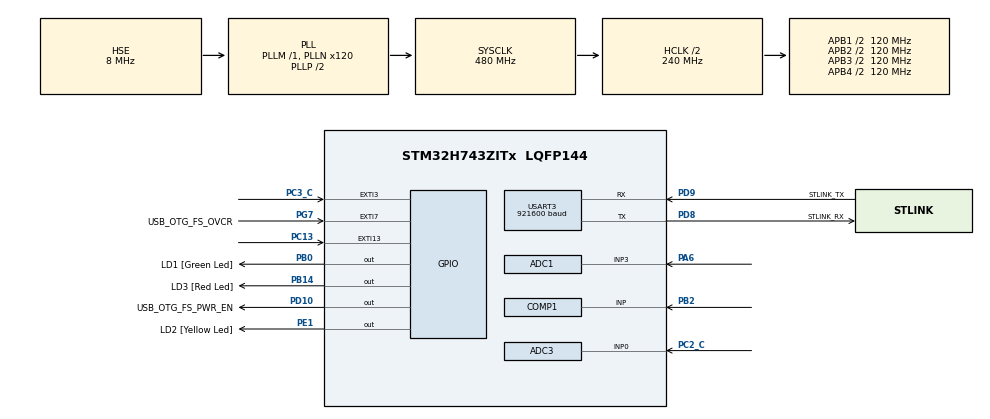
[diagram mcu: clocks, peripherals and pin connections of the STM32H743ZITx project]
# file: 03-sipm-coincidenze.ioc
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ADC1.Channel-1\#ChannelRegularConversion=ADC_CHANNEL_3
ADC1.ExternalTrigConv=ADC_EXTERNALTRIG_T2_TRGO
ADC1.NbrOfConversionFlag=1
ADC1.OffsetNumber-1\#ChannelRegularConversion=ADC_OFFSET_NONE
ADC1.OffsetSignedSaturation-1\#ChannelRegularConversion=DISABLE
ADC1.Rank-1\#ChannelRegularConversion=1
ADC1.SamplingTime-1\#ChannelRegularConversion=ADC_SAMPLETIME_1CYCLE_5
ADC1.master=1
ADC3.Channel-0\#ChannelRegularConversion=ADC_CHANNEL_TEMPSENSOR
ADC3.ExternalTrigConv=ADC_EXTERNALTRIG_T2_TRGO
ADC3.NbrOfConversionFlag=1
ADC3.OffsetNumber-0\#ChannelRegularConversion=ADC_OFFSET_NONE
ADC3.OffsetSignedSaturation-0\#ChannelRegularConversion=DISABLE
ADC3.Rank-0\#ChannelRegularConversion=1
ADC3.SamplingTime-0\#ChannelRegularConversion=ADC_SAMPLETIME_1CYCLE_5
COMP1.Hysteresis=COMP_HYSTERESIS_MEDIUM
COMP1.TriggerMode=COMP_TRIGGERMODE_EVENT_RISING
DAC1.DAC_Channel-DAC_OUT1_Int=DAC_CHANNEL_1
Dma.ADC1.2.Direction=DMA_PERIPH_TO_MEMORY
Dma.ADC1.2.EventEnable=DISABLE
Dma.ADC1.2.FIFOMode=DMA_FIFOMODE_DISABLE
Dma.ADC1.2.Instance=DMA1_Stream0
Dma.ADC1.2.MemDataAlignment=DMA_MDATAALIGN_HALFWORD
Dma.ADC1.2.MemInc=DMA_MINC_ENABLE
Dma.ADC1.2.Mode=DMA_NORMAL
Dma.ADC1.2.PeriphDataAlignment=DMA_PDATAALIGN_HALFWORD
Dma.ADC1.2.PeriphInc=DMA_PINC_DISABLE
Dma.ADC1.2.Polarity=HAL_DMAMUX_REQ_GEN_RISING
Dma.ADC1.2.Priority=DMA_PRIORITY_LOW
Dma.ADC1.2.RequestNumber=1
Dma.ADC1.2.SignalID=NONE
Dma.ADC1.2.SyncEnable=DISABLE
Dma.ADC1.2.SyncPolarity=HAL_DMAMUX_SYNC_NO_EVENT
Dma.ADC1.2.SyncRequestNumber=1
Dma.ADC1.2.SyncSignalID=NONE
Dma.ADC3.0.Direction=DMA_PERIPH_TO_MEMORY
Dma.ADC3.0.EventEnable=DISABLE
Dma.ADC3.0.FIFOMode=DMA_FIFOMODE_DISABLE
Dma.ADC3.0.Instance=DMA2_Stream0
Dma.ADC3.0.MemDataAlignment=DMA_MDATAALIGN_HALFWORD
Dma.ADC3.0.MemInc=DMA_MINC_ENABLE
Dma.ADC3.0.Mode=DMA_NORMAL
Dma.ADC3.0.PeriphDataAlignment=DMA_PDATAALIGN_HALFWORD
Dma.ADC3.0.PeriphInc=DMA_PINC_DISABLE
Dma.ADC3.0.Polarity=HAL_DMAMUX_REQ_GEN_RISING
Dma.ADC3.0.Priority=DMA_PRIORITY_LOW
Dma.ADC3.0.RequestNumber=1
Dma.ADC3.0.SignalID=NONE
Dma.ADC3.0.SyncEnable=DISABLE
Dma.ADC3.0.SyncPolarity=HAL_DMAMUX_SYNC_NO_EVENT
Dma.ADC3.0.SyncRequestNumber=1
Dma.ADC3.0.SyncSignalID=NONE
Dma.Request0=ADC3
Dma.Request1=USART3_TX
Dma.Request2=ADC1
Dma.USART3_TX.1.Direction=DMA_MEMORY_TO_PERIPH
Dma.USART3_TX.1.EventEnable=DISABLE
Dma.USART3_TX.1.FIFOMode=DMA_FIFOMODE_DISABLE
Dma.USART3_TX.1.Instance=DMA1_Stream3
Dma.USART3_TX.1.MemDataAlignment=DMA_MDATAALIGN_BYTE
Dma.USART3_TX.1.MemInc=DMA_MINC_ENABLE
Dma.USART3_TX.1.Mode=DMA_NORMAL
Dma.USART3_TX.1.PeriphDataAlignment=DMA_PDATAALIGN_BYTE
Dma.USART3_TX.1.PeriphInc=DMA_PINC_DISABLE
Dma.USART3_TX.1.Polarity=HAL_DMAMUX_REQ_GEN_RISING
Dma.USART3_TX.1.Priority=DMA_PRIORITY_LOW
Dma.USART3_TX.1.RequestNumber=1
Dma.USART3_TX.1.SignalID=NONE
Dma.USART3_TX.1.SyncEnable=DISABLE
Dma.USART3_TX.1.SyncPolarity=HAL_DMAMUX_SYNC_NO_EVENT
Dma.USART3_TX.1.SyncRequestNumber=1
Dma.USART3_TX.1.SyncSignalID=NONE
Mcu.Family=STM32H7
Mcu.Name=STM32H743ZITx
Mcu.Package=LQFP144
NVIC.ADC3_IRQn=true\:0\:0\:false\:false\:true\:true\:true\:true
NVIC.DMA1_Stream0_IRQn=true\:0\:0\:false\:false\:true\:false\:true\:true
NVIC.DMA1_Stream3_IRQn=true\:0\:0\:false\:false\:true\:false\:true\:true
NVIC.DMA2_Stream0_IRQn=true\:0\:0\:false\:false\:true\:false\:true\:true
NVIC.EXTI15_10_IRQn=true\:0\:0\:false\:false\:true\:true\:true\:true
NVIC.EXTI3_IRQn=true\:0\:0\:false\:false\:true\:true\:true\:true
NVIC.PriorityGroup=NVIC_PRIORITYGROUP_4
NVIC.TIM3_IRQn=true\:0\:0\:false\:false\:true\:true\:true\:true
NVIC.USART3_IRQn=true\:0\:0\:false\:false\:true\:true\:true\:true
PA6.Signal=ADCx_INP3
PB0.GPIO_Label=LD1 [Green Led]
PB0.Signal=GPIO_Output
PB14.GPIO_Label=LD3 [Red Led]
PB14.Signal=GPIO_Output
PB2.Mode=INP
PB2.Signal=COMP1_INP
PC13.Signal=GPXTI13
PC2_C.Mode=IN0-Single-Ended
PC2_C.Signal=ADC3_INP0
PC3_C.Signal=GPXTI3
PD10.GPIO_Label=USB_OTG_FS_PWR_EN
PD10.Signal=GPIO_Output
PD8.GPIO_Label=STLINK_RX
PD8.Mode=Asynchronous
PD8.Signal=USART3_TX
PD9.GPIO_Label=STLINK_TX
PD9.Mode=Asynchronous
PD9.Signal=USART3_RX
PE1.GPIO_Label=LD2 [Yellow Led]
PE1.Signal=GPIO_Output
PG7.GPIO_Label=USB_OTG_FS_OVCR
PG7.Signal=GPXTI7
PH0-OSC_IN\ (PH0).Mode=HSE-External-Clock-Source
PH0-OSC_IN\ (PH0).Signal=RCC_OSC_IN
ProjectManager.HeapSize=0x200
ProjectManager.StackSize=0x400
ProjectManager.TargetToolchain=STM32CubeIDE
RCC.ADCFreq_Value=75000000
RCC.APB1Freq_Value=120000000
RCC.APB2Freq_Value=120000000
RCC.APB3Freq_Value=120000000
RCC.APB4Freq_Value=120000000
RCC.CortexFreq_Value=480000000
RCC.D1PPRE=RCC_APB3_DIV2
RCC.D2PPRE1=RCC_APB1_DIV2
RCC.D2PPRE2=RCC_APB2_DIV2
RCC.D3PPRE=RCC_APB4_DIV2
RCC.DIVM1=1
RCC.DIVM2=1
RCC.DIVN1=120
RCC.DIVN2=18
RCC.HCLKFreq_Value=240000000
RCC.HPRE=RCC_HCLK_DIV2
RCC.HSE_VALUE=8000000
RCC.PLL2FRACN=6144
RCC.PLL3FRACN=0
RCC.PLLFRACN=0
RCC.PLLSourceVirtual=RCC_PLLSOURCE_HSE
RCC.PWR_Regulator_Voltage_Scale=PWR_REGULATOR_VOLTAGE_SCALE0
RCC.SYSCLKFreq_VALUE=480000000
RCC.SYSCLKSource=RCC_SYSCLKSOURCE_PLLCLK
RCC.USBFreq_Value=480000000
SH.ADCx_INP3.0=ADC1_INP3,IN3-Single-Ended
TIM2.TIM_MasterOutputTrigger=TIM_TRGO_UPDATE
TIM3.TIM_MasterOutputTrigger=TIM_TRGO_OC1REF
USART3.BaudRate=921600
USART3.VirtualMode-Asynchronous=VM_ASYNC
VP_ADC3_TempSens_Input.Mode=IN-TempSens
VP_ADC3_Vref_Input.Mode=IN-Vrefint
VP_COMP1_VS_DACOUT1.Mode=INM_DACOUT1
VP_DAC1_VS_DACI1.Mode=DAC_OUT1_Int
VP_MEMORYMAP_VS_MEMORYMAP.Mode=CurAppReg
VP_TIM2_VS_ClockSourceINT.Mode=Internal
VP_TIM3_VS_ClockSourceITR.Mode=TriggerSource_ITR1
VP_TIM3_VS_ControllerModeClock.Mode=Clock Mode
VP_TIM4_VS_ClockSourceITR.Mode=TriggerSource_ITR1
VP_TIM4_VS_ControllerModeClock.Mode=Clock Mode
VP_VREFBUF_V_VREFBUF.Mode=ExternalMode
board=NUCLEO-H743ZI2

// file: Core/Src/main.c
/* USER CODE BEGIN Header */
/**
 ******************************************************************************
 * @file           : main.c
 * @brief          : Main program body
 ******************************************************************************
 * @attention
 *
 * Copyright (c) 2024 STMicroelectronics.
 * All rights reserved.
 *
 * This software is licensed under terms that can be found in the LICENSE file
 * in the root directory of this software component.
 * If no LICENSE file comes with this software, it is provided AS-IS.
 *
 ******************************************************************************
 */
/* USER CODE END Header */
#include "main.h"

/* USER CODE BEGIN Includes */
#include "lz_uart.h"
#include "lz_serial.h"
#include "lz_adc.h"
/* USER CODE END Includes */

/* USER CODE BEGIN PD */
#define LZ_VREFINT 19
#define LZ_VSIGNAL_ADC3 0 // PC2 ~ A4
#define LZ_VSIGNAL_ADC1 3 // PA6 ~ D12

//#define LZ_CHECK_DMA_SYNC
/* USER CODE END PD */

/* USER CODE BEGIN PM */
#define MIN(a, b) (((a) < (b)) ? (a) : (b))
#define MAX(a, b) (((a) > (b)) ? (a) : (b))
/* USER CODE END PM */

ADC_HandleTypeDef hadc1;
ADC_HandleTypeDef hadc3;
DMA_HandleTypeDef hdma_adc1;
DMA_HandleTypeDef hdma_adc3;

COMP_HandleTypeDef hcomp1;

DAC_HandleTypeDef hdac1;

TIM_HandleTypeDef htim2;
TIM_HandleTypeDef htim3;
TIM_HandleTypeDef htim4;

UART_HandleTypeDef huart3;
DMA_HandleTypeDef hdma_usart3_tx;

/* USER CODE BEGIN PV */
volatile uint16_t gBufferAdc1[1024];
static_assert((sizeof(gBufferAdc1) & (sizeof(gBufferAdc1) - 1)) == 0, "Queue size must be a power of 2");

volatile uint16_t gBufferAdc3[sizeof(gBufferAdc1) / sizeof(gBufferAdc1[0])];

volatile uint32_t still_to_transmit = 0;

volatile uint8_t is_trigger_enabled = 0;
volatile uint8_t is_trigger_ready = 0;
volatile uint8_t is_busy = 0;
volatile uint8_t is_triggered = 0;
volatile uint8_t is_tx_transmitting_dma = 0;

volatile uint8_t events_count = 0;
volatile uint32_t missed_triggers = 0;
/* USER CODE END PV */

void SystemClock_Config(void);
void PeriphCommonClock_Config(void);
static void MX_GPIO_Init(void);
static void MX_DMA_Init(void);
static void MX_ADC3_Init(void);
static void MX_USART3_UART_Init(void);
static void MX_TIM2_Init(void);
static void MX_TIM3_Init(void);
static void MX_TIM4_Init(void);
static void MX_COMP1_Init(void);
static void MX_DAC1_Init(void);
static void MX_ADC1_Init(void);

/* USER CODE BEGIN 0 */
struct lz_settings {
	uint32_t arr;
	uint16_t total_points;
	int16_t trigger_offset;
	uint16_t num_of_events;
	uint16_t threshold_l;
	uint16_t threshold_h;
	uint16_t num_of_acquisitions;
} gSettings;

enum {
	LZ_IDLE, LZ_SEND_SETTINGS, LZ_UPDATE_SETTINGS, LZ_RUN
} gState = LZ_IDLE;

volatile uint8_t gRxReadingData = 0;
uint8_t __lz_serial_new_character_read(char c) {
	if (!gRxReadingData) {
		switch (c) {
		case 'u':
			gState = LZ_UPDATE_SETTINGS;
			return 1;
		case 's':
			gState = LZ_SEND_SETTINGS;
			return 1;
		case 'r':
			gState = LZ_RUN;
			return 1;
		default:
			break;
		}
	}

	return 0;
}

void __lz_serial_error_tx_buffer_full(void) {
	GPIOE->BSRR = GPIO_BSRR_BS1;
}

void __lz_serial_error_rx_buffer_full(void) {
	Error_Handler();
}

void applySettings(const struct lz_settings *settings) {
	assert(!(ADC1->CR & ADC_CR_ADSTART)); // check ADC is not measuring
	assert(!(ADC3->CR & ADC_CR_ADSTART)); // check ADC is not measuring

	// configure sampling frequency
	TIM2->ARR = settings->arr;
	TIM2->CNT = 0;

	// configure pretrigger / trigger delay
	TIM3->ARR = settings->total_points + settings->trigger_offset;

	// configure DMA lost conversion check
	TIM4->ARR = sizeof(gBufferAdc1) / sizeof(uint16_t) - 1;

	// configure trigger
	ADC1->LTR2 = settings->threshold_l;
	ADC1->HTR2 = settings->threshold_h;
	ADC3->LTR2 = settings->threshold_l;
	ADC3->HTR2 = settings->threshold_h;
}

void startAdc(void) {
	ADC1->CR |= ADC_CR_ADSTART;
	ADC3->CR |= ADC_CR_ADSTART;
	TIM2->CR1 |= TIM_CR1_CEN;
}

void startCircularBuffer(void) {
	// Setup ADC1 circular buffer
	DMA1_Stream0->PAR = (uint32_t) &ADC1->DR;
	DMA1_Stream0->M0AR = (uint32_t) &gBufferAdc1;
	DMA1_Stream0->NDTR = sizeof(gBufferAdc1) / sizeof(uint16_t);
	DMA1_Stream0->CR |= DMA_SxCR_CIRC;

	// Setup ADC3 circular buffer
	DMA2_Stream0->PAR = (uint32_t) &ADC3->DR;
	DMA2_Stream0->M0AR = (uint32_t) &gBufferAdc3;
	DMA2_Stream0->NDTR = sizeof(gBufferAdc3) / sizeof(uint16_t);
	DMA2_Stream0->CR |= DMA_SxCR_CIRC;

	// Clear flags
	DMA2->LIFCR = DMA_LIFCR_CDMEIF1 | DMA_LIFCR_CFEIF1 | DMA_LIFCR_CHTIF1
			| DMA_LIFCR_CTCIF1 | DMA_LIFCR_CTEIF1;
	DMA2->LIFCR = DMA_LIFCR_CDMEIF0 | DMA_LIFCR_CFEIF0 | DMA_LIFCR_CHTIF0
			| DMA_LIFCR_CTCIF0 | DMA_LIFCR_CTEIF0;

	// Enable check and circular buffer
	TIM2->CR1 &= ~TIM_CR1_CEN;

#ifdef LZ_CHECK_DMA_SYNC
	TIM4->CR1 |= TIM_CR1_CEN;
	DMA1_Stream0->CR |= DMA_SxCR_EN;
	DMA2_Stream0->CR |= DMA_SxCR_EN;
	TIM4->CNT = sizeof(gBuffer) / sizeof(uint16_t) - DMA2_Stream0->NDTR;
#else
	DMA1_Stream0->CR |= DMA_SxCR_EN;
	DMA2_Stream0->CR |= DMA_SxCR_EN;
#endif

	TIM2->CR1 |= TIM_CR1_CEN;
}

void stopAll(void) {
	TIM2->CR1 &= ~TIM_CR1_CEN; // sample clock
	TIM3->CR1 &= ~TIM_CR1_CEN; // pretrigger clock
	TIM4->CR1 &= ~TIM_CR1_CEN; // DMA circular buffer check

	ADC1->CR |= ADC_CR_ADSTP;
	ADC3->CR |= ADC_CR_ADSTP;

	DMA1_Stream0->CR &= ~DMA_SxCR_EN;
	DMA2_Stream0->CR &= ~DMA_SxCR_EN;

	// Wait for ADC to stop, ADC DMA to stop and USART DMA transmission to stop (wait for end of tx)
	while ((ADC1->CR & ADC_CR_ADSTART) || (DMA1_Stream0->CR & DMA_SxCR_EN)
			|| (ADC3->CR & ADC_CR_ADSTART) || (DMA2_Stream0->CR & DMA_SxCR_EN)
			|| is_tx_transmitting_dma) {
	}
}

/* USER CODE END 0 */

int main(void)
{

  /* MCU Configuration--------------------------------------------------------*/

  /* Reset of all peripherals, Initializes the Flash interface and the Systick. */
  HAL_Init();

  /* Configure the system clock */
  SystemClock_Config();

  /* Configure the peripherals common clocks */
  PeriphCommonClock_Config();

  /* Initialize all configured peripherals */
  MX_GPIO_Init();
  MX_DMA_Init();
  MX_ADC3_Init();
  MX_USART3_UART_Init();
  MX_TIM2_Init();
  MX_TIM3_Init();
  MX_TIM4_Init();
  MX_COMP1_Init();
  MX_DAC1_Init();
  MX_ADC1_Init();
  /* USER CODE BEGIN 2 */
	COMP1->CFGR |= COMP_CFGRx_EN;

	DAC1->CR|=DAC_CR_EN1;
	DAC1->DHR12R1 = 1240; //IN 12 BIT CON FONDO SCALA 3.3
	DAC1->SWTRIGR |= DAC_SWTRIGR_SWTRIG1;

	lz_adc_prepare_channel(ADC1, LZ_VSIGNAL_ADC1, LZ_ST_1_5_CLOCK);
	lz_adc_prepare_channel(ADC3, LZ_VSIGNAL_ADC3, LZ_ST_1_5_CLOCK);

	lz_adc_calibration(ADC1);
	lz_adc_enable(ADC1);

	lz_adc_calibration(ADC3);
	lz_adc_enable(ADC3);

	LZ_ADC_SEQUENCE(ADC1, LZ_VSIGNAL_ADC1);
	LZ_ADC_SEQUENCE(ADC3, LZ_VSIGNAL_ADC3);

	// Monitor VSIGNAL with AWD2 and AWD3
	ADC1->AWD2CR = 1 << LZ_VSIGNAL_ADC1;
	ADC3->AWD2CR = 1 << LZ_VSIGNAL_ADC3;
	//ADC3->IER |= ADC_IER_OVRIE;

	// Configure circular mode DMA
	ADC1->CFGR |= 3 << ADC_CFGR_DMNGT_Pos;
	ADC3->CFGR |= 3 << ADC_CFGR_DMNGT_Pos;

	// Overrun mode (debug purpose only)
	//ADC3->CFGR |= ADC_CFGR_OVRMOD;

	// Enable TIM3 interrupt (end of post-trigger)
	//TIM3->DIER |= TIM_DIER_UIE;
	TIM3->CR1 |= TIM_CR1_OPM;

	// Enable USART
	lz_uart_setup();

	USART3->CR3 |= USART_CR3_DMAT;
	//DMA1_Stream3->CR |= DMA_SxCR_TCIE;

	gSettings.arr = 120;
	gSettings.num_of_events = 10;
	gSettings.threshold_h = 21845;
	gSettings.threshold_l = 14563;
	gSettings.total_points = 256;
	gSettings.trigger_offset = 0;
	gSettings.num_of_acquisitions = 1000;

	applySettings(&gSettings);

	startCircularBuffer();
	startAdc();
  /* USER CODE END 2 */

  /* Infinite loop */
	while (1) {

    /* USER CODE BEGIN 3 */
		switch (gState) {
				case LZ_SEND_SETTINGS:
					stopAll();
					lz_uart_tx_enable_interrupt();

					lz_serial_send_binary(&gSettings.arr, sizeof(gSettings.arr));
					lz_serial_send_binary(&gSettings.total_points,
							sizeof(gSettings.total_points));
					lz_serial_send_binary(&gSettings.trigger_offset,
							sizeof(gSettings.trigger_offset));
					lz_serial_send_binary(&gSettings.num_of_events,
							sizeof(gSettings.num_of_events));
					lz_serial_send_binary(&gSettings.threshold_l,
							sizeof(gSettings.threshold_l));
					lz_serial_send_binary(&gSettings.threshold_h,
							sizeof(gSettings.threshold_h));
					lz_serial_send_binary(&gSettings.num_of_acquisitions, sizeof(gSettings.num_of_acquisitions));

					lz_uart_tx_disable_interrupt();

					startAdc();
					startCircularBuffer();

					gState = LZ_IDLE;
					break;

				case LZ_UPDATE_SETTINGS:
					stopAll();

					gRxReadingData = 1;
					lz_serial_read(&gSettings.arr, sizeof(gSettings.arr));
					lz_serial_read(&gSettings.total_points,
							sizeof(gSettings.total_points));
					lz_serial_read(&gSettings.trigger_offset,
							sizeof(gSettings.trigger_offset));
					lz_serial_read(&gSettings.num_of_events,
							sizeof(gSettings.num_of_events));
					lz_serial_read(&gSettings.threshold_l, sizeof(gSettings.threshold_l));
					lz_serial_read(&gSettings.threshold_h, sizeof(gSettings.threshold_h));
					lz_serial_read(&gSettings.num_of_acquisitions, sizeof(gSettings.num_of_acquisitions));

					gRxReadingData = 0;

					applySettings(&gSettings);
					startAdc();
					startCircularBuffer();

					gState = LZ_IDLE;
					break;

				case LZ_RUN:
					for (uint32_t i = 0; i < gSettings.num_of_acquisitions; i++) {
						TIM3->SR &= ~TIM_SR_UIF;
						TIM3->CNT = 1;

#if 0
						while (!(COMP12->SR&COMP_SR_C1VAL));
						while (COMP12->SR&COMP_SR_C1VAL);

						TIM3->CR1 |= TIM_CR1_CEN;
						while (!(TIM3->SR & TIM_SR_UIF));
#else
						uint8_t trigger_adc1 = 0, trigger_adc3 = 0;

						// Find initial trigger
						while (1)
						{
							if (trigger_adc1 == 0 && ADC1->DR < ADC1->LTR2)
								trigger_adc1 = 1;
							if (trigger_adc3 == 0 && ADC3->DR < ADC3->LTR2)
								trigger_adc3 = 1;

							if (trigger_adc1 == 1 && ADC1->DR > ADC1->HTR2)
							{
								trigger_adc1 = 2;
								break;
							}
							if (trigger_adc3 == 1 && ADC3->DR > ADC3->HTR2)
							{
								trigger_adc3 = 2;
								break;
							}

							ADC1->ISR = ADC_ISR_AWD2;
							ADC3->ISR = ADC_ISR_AWD2;
							while (!((ADC1->ISR & ADC_ISR_AWD2) || (ADC3->ISR & ADC_ISR_AWD2)));
						}

						// Start timer
						TIM3->CR1 |= TIM_CR1_CEN;

						// Wait for other trigger
						if (trigger_adc1 == 2)
						{
							while (!(TIM3->SR & TIM_SR_UIF))
							{
								if (trigger_adc3 == 0 && ADC3->DR < ADC3->LTR2)
									trigger_adc3 = 1;

								if (trigger_adc3 == 1 && ADC3->DR > ADC3->HTR2)
								{
									trigger_adc3 = 2;
									break;
								}

								ADC3->ISR = ADC_ISR_AWD2;
								while (!(ADC3->ISR & ADC_ISR_AWD2));
							}
						}
						else
						{
							while (!(TIM3->SR & TIM_SR_UIF))
							{
								if (trigger_adc1 == 0 && ADC1->DR < ADC1->LTR2)
									trigger_adc1 = 1;

								if (trigger_adc1 == 1 && ADC1->DR > ADC1->HTR2)
								{
									trigger_adc1 = 2;
									break;
								}

								ADC1->ISR = ADC_ISR_AWD2;
								while (!(ADC1->ISR & ADC_ISR_AWD2));
							}
						}

						uint32_t other_trig_cnt = TIM3->CNT;

						// Wait end of timer
						while (!(TIM3->SR & TIM_SR_UIF));

						// Exit if no coincidence
						if (trigger_adc1 != 2 || trigger_adc3 != 2 || other_trig_cnt > 10)
						{
							i--;
							continue;
						}
#endif

						// stop DMA ADC and TIM4
						TIM2->CR1 &= ~TIM_CR1_CEN;

#ifdef LZ_CHECK_DMA_SYNC
						TIM4->CR1 &= ~TIM_CR1_CEN;
#endif
						DMA1_Stream0->CR &= ~DMA_SxCR_EN;
						DMA2_Stream0->CR &= ~DMA_SxCR_EN;
						while ((DMA1_Stream0->CR & DMA_SxCR_EN) || (DMA2_Stream0->CR & DMA_SxCR_EN));

#ifdef LZ_CHECK_DMA_SYNC
						assert(DMA2_Stream0->NDTR == DMA1_Stream0->NDTR);
#endif

						uint32_t succ_idx = sizeof(gBufferAdc1) / sizeof(uint16_t) - DMA2_Stream0->NDTR;
#ifdef LZ_CHECK_DMA_SYNC
						uint32_t timer_idx = TIM4->CNT;
						if (timer_idx != succ_idx)
						{
							;
						}
#endif
						uint16_t init_idx = (succ_idx - gSettings.total_points)
								& (sizeof(gBufferAdc1) / sizeof(uint16_t) - 1);
						uint16_t till_end = sizeof(gBufferAdc1) / sizeof(uint16_t) - init_idx;

						uint16_t num_to_read = MIN(gSettings.total_points, till_end);
						still_to_transmit = MAX(0,
								(int32_t )gSettings.total_points - (int32_t )num_to_read);

						// Transmit gBufferAdc1
						DMA1_Stream3->PAR = (uint32_t) &USART3->TDR;
						DMA1_Stream3->M0AR = (uint32_t) (gBufferAdc1 + init_idx);
						DMA1_Stream3->NDTR = num_to_read * sizeof(uint16_t);
						USART3->CR3 |= USART_CR3_DMAT;

						DMA1->LIFCR = DMA_LIFCR_CDMEIF3 | DMA_LIFCR_CFEIF3 | DMA_LIFCR_CHTIF3
								| DMA_LIFCR_CTCIF3 | DMA_LIFCR_CTEIF3;

						DMA1_Stream3->CR |= DMA_SxCR_EN;

						while (DMA1_Stream3->CR & DMA_SxCR_EN);

						if (still_to_transmit > 0) {
							// Transmit remaining measurements
							DMA1_Stream3->PAR = (uint32_t) &USART3->TDR;
							DMA1_Stream3->M0AR = (uint32_t) &gBufferAdc1;
							DMA1_Stream3->NDTR = still_to_transmit * sizeof(uint16_t);
							USART3->CR3 |= USART_CR3_DMAT;

							DMA1->LIFCR = DMA_LIFCR_CDMEIF3 | DMA_LIFCR_CFEIF3 | DMA_LIFCR_CHTIF3
									| DMA_LIFCR_CTCIF3 | DMA_LIFCR_CTEIF3;

							DMA1_Stream3->CR |= DMA_SxCR_EN;

							while (DMA1_Stream3->CR & DMA_SxCR_EN);
						}

						// Transmit gBufferAdc3
						DMA1_Stream3->PAR = (uint32_t) &USART3->TDR;
						DMA1_Stream3->M0AR = (uint32_t) (gBufferAdc3 + init_idx);
						DMA1_Stream3->NDTR = num_to_read * sizeof(uint16_t);
						USART3->CR3 |= USART_CR3_DMAT;

						DMA1->LIFCR = DMA_LIFCR_CDMEIF3 | DMA_LIFCR_CFEIF3 | DMA_LIFCR_CHTIF3
								| DMA_LIFCR_CTCIF3 | DMA_LIFCR_CTEIF3;

						DMA1_Stream3->CR |= DMA_SxCR_EN;

						while (DMA1_Stream3->CR & DMA_SxCR_EN);

						if (still_to_transmit > 0) {
							// Transmit remaining measurements
							DMA1_Stream3->PAR = (uint32_t) &USART3->TDR;
							DMA1_Stream3->M0AR = (uint32_t) &gBufferAdc3;
							DMA1_Stream3->NDTR = still_to_transmit * sizeof(uint16_t);
							USART3->CR3 |= USART_CR3_DMAT;

							DMA1->LIFCR = DMA_LIFCR_CDMEIF3 | DMA_LIFCR_CFEIF3 | DMA_LIFCR_CHTIF3
									| DMA_LIFCR_CTCIF3 | DMA_LIFCR_CTEIF3;

							DMA1_Stream3->CR |= DMA_SxCR_EN;

							while (DMA1_Stream3->CR & DMA_SxCR_EN);
						}

						// Reharm only if ADC is running
						if (ADC3->CR & ADC_CR_ADSTART) {
							GPIOB->BSRR = GPIO_BSRR_BR0;
							startCircularBuffer();
							TIM2->CR1 |= TIM_CR1_CEN;
						}
					}
					gState = LZ_IDLE;
					break;

				case LZ_IDLE:
					break;
				}
	}
  /* USER CODE END 3 */
}

void SystemClock_Config(void)
{
  RCC_OscInitTypeDef RCC_OscInitStruct = {0};
  RCC_ClkInitTypeDef RCC_ClkInitStruct = {0};

  /** Supply configuration update enable
  */
  HAL_PWREx_ConfigSupply(PWR_LDO_SUPPLY);

  /** Configure the main internal regulator output voltage
  */
  __HAL_PWR_VOLTAGESCALING_CONFIG(PWR_REGULATOR_VOLTAGE_SCALE1);

  while(!__HAL_PWR_GET_FLAG(PWR_FLAG_VOSRDY)) {}

  __HAL_RCC_SYSCFG_CLK_ENABLE();
  __HAL_PWR_VOLTAGESCALING_CONFIG(PWR_REGULATOR_VOLTAGE_SCALE0);

  while(!__HAL_PWR_GET_FLAG(PWR_FLAG_VOSRDY)) {}

  /** Initializes the RCC Oscillators according to the specified parameters
  * in the RCC_OscInitTypeDef structure.
  */
  RCC_OscInitStruct.OscillatorType = RCC_OSCILLATORTYPE_HSE;
  RCC_OscInitStruct.HSEState = RCC_HSE_BYPASS;
  RCC_OscInitStruct.PLL.PLLState = RCC_PLL_ON;
  RCC_OscInitStruct.PLL.PLLSource = RCC_PLLSOURCE_HSE;
  RCC_OscInitStruct.PLL.PLLM = 1;
  RCC_OscInitStruct.PLL.PLLN = 120;
  RCC_OscInitStruct.PLL.PLLP = 2;
  RCC_OscInitStruct.PLL.PLLQ = 2;
  RCC_OscInitStruct.PLL.PLLR = 2;
  RCC_OscInitStruct.PLL.PLLRGE = RCC_PLL1VCIRANGE_3;
  RCC_OscInitStruct.PLL.PLLVCOSEL = RCC_PLL1VCOWIDE;
  RCC_OscInitStruct.PLL.PLLFRACN = 0;
  if (HAL_RCC_OscConfig(&RCC_OscInitStruct) != HAL_OK)
  {
    Error_Handler();
  }

  /** Initializes the CPU, AHB and APB buses clocks
  */
  RCC_ClkInitStruct.ClockType = RCC_CLOCKTYPE_HCLK|RCC_CLOCKTYPE_SYSCLK
                              |RCC_CLOCKTYPE_PCLK1|RCC_CLOCKTYPE_PCLK2
                              |RCC_CLOCKTYPE_D3PCLK1|RCC_CLOCKTYPE_D1PCLK1;
  RCC_ClkInitStruct.SYSCLKSource = RCC_SYSCLKSOURCE_PLLCLK;
  RCC_ClkInitStruct.SYSCLKDivider = RCC_SYSCLK_DIV1;
  RCC_ClkInitStruct.AHBCLKDivider = RCC_HCLK_DIV2;
  RCC_ClkInitStruct.APB3CLKDivider = RCC_APB3_DIV2;
  RCC_ClkInitStruct.APB1CLKDivider = RCC_APB1_DIV2;
  RCC_ClkInitStruct.APB2CLKDivider = RCC_APB2_DIV2;
  RCC_ClkInitStruct.APB4CLKDivider = RCC_APB4_DIV2;

  if (HAL_RCC_ClockConfig(&RCC_ClkInitStruct, FLASH_LATENCY_4) != HAL_OK)
  {
    Error_Handler();
  }
}

void PeriphCommonClock_Config(void)
{
  RCC_PeriphCLKInitTypeDef PeriphClkInitStruct = {0};

  /** Initializes the peripherals clock
  */
  PeriphClkInitStruct.PeriphClockSelection = RCC_PERIPHCLK_ADC;
  PeriphClkInitStruct.PLL2.PLL2M = 1;
  PeriphClkInitStruct.PLL2.PLL2N = 18;
  PeriphClkInitStruct.PLL2.PLL2P = 2;
  PeriphClkInitStruct.PLL2.PLL2Q = 2;
  PeriphClkInitStruct.PLL2.PLL2R = 2;
  PeriphClkInitStruct.PLL2.PLL2RGE = RCC_PLL2VCIRANGE_3;
  PeriphClkInitStruct.PLL2.PLL2VCOSEL = RCC_PLL2VCOMEDIUM;
  PeriphClkInitStruct.PLL2.PLL2FRACN = 6144;
  PeriphClkInitStruct.AdcClockSelection = RCC_ADCCLKSOURCE_PLL2;
  if (HAL_RCCEx_PeriphCLKConfig(&PeriphClkInitStruct) != HAL_OK)
  {
    Error_Handler();
  }
}

static void MX_ADC1_Init(void)
{

  ADC_MultiModeTypeDef multimode = {0};
  ADC_ChannelConfTypeDef sConfig = {0};

  /** Common config
  */
  hadc1.Instance = ADC1;
  hadc1.Init.ScanConvMode = ADC_SCAN_DISABLE;
  hadc1.Init.EOCSelection = ADC_EOC_SINGLE_CONV;
  hadc1.Init.LowPowerAutoWait = DISABLE;
  hadc1.Init.ContinuousConvMode = DISABLE;
  hadc1.Init.NbrOfConversion = 1;
  hadc1.Init.DiscontinuousConvMode = DISABLE;
  hadc1.Init.ExternalTrigConv = ADC_EXTERNALTRIG_T2_TRGO;
  hadc1.Init.ExternalTrigConvEdge = ADC_EXTERNALTRIGCONVEDGE_RISING;
  hadc1.Init.ConversionDataManagement = ADC_CONVERSIONDATA_DR;
  hadc1.Init.Overrun = ADC_OVR_DATA_PRESERVED;
  hadc1.Init.LeftBitShift = ADC_LEFTBITSHIFT_NONE;
  hadc1.Init.OversamplingMode = DISABLE;
  hadc1.Init.Oversampling.Ratio = 1;
  if (HAL_ADC_Init(&hadc1) != HAL_OK)
  {
    Error_Handler();
  }
  hadc1.Init.ClockPrescaler = ADC_CLOCK_ASYNC_DIV1;
  hadc1.Init.Resolution = ADC_RESOLUTION_16B;
  if (HAL_ADC_Init(&hadc1) != HAL_OK)
  {
    Error_Handler();
  }

  /** Configure the ADC multi-mode
  */
  multimode.Mode = ADC_MODE_INDEPENDENT;
  if (HAL_ADCEx_MultiModeConfigChannel(&hadc1, &multimode) != HAL_OK)
  {
    Error_Handler();
  }

  /** Configure Regular Channel
  */
  sConfig.Channel = ADC_CHANNEL_3;
  sConfig.Rank = ADC_REGULAR_RANK_1;
  sConfig.SamplingTime = ADC_SAMPLETIME_1CYCLE_5;
  sConfig.SingleDiff = ADC_SINGLE_ENDED;
  sConfig.OffsetNumber = ADC_OFFSET_NONE;
  sConfig.Offset = 0;
  sConfig.OffsetSignedSaturation = DISABLE;
  if (HAL_ADC_ConfigChannel(&hadc1, &sConfig) != HAL_OK)
  {
    Error_Handler();
  }

}

static void MX_ADC3_Init(void)
{

  ADC_ChannelConfTypeDef sConfig = {0};

  /** Common config
  */
  hadc3.Instance = ADC3;
  hadc3.Init.ClockPrescaler = ADC_CLOCK_ASYNC_DIV1;
  hadc3.Init.ScanConvMode = ADC_SCAN_DISABLE;
  hadc3.Init.EOCSelection = ADC_EOC_SINGLE_CONV;
  hadc3.Init.LowPowerAutoWait = DISABLE;
  hadc3.Init.ContinuousConvMode = DISABLE;
  hadc3.Init.NbrOfConversion = 1;
  hadc3.Init.DiscontinuousConvMode = DISABLE;
  hadc3.Init.ExternalTrigConv = ADC_EXTERNALTRIG_T2_TRGO;
  hadc3.Init.ExternalTrigConvEdge = ADC_EXTERNALTRIGCONVEDGE_RISING;
  hadc3.Init.ConversionDataManagement = ADC_CONVERSIONDATA_DR;
  hadc3.Init.Overrun = ADC_OVR_DATA_PRESERVED;
  hadc3.Init.LeftBitShift = ADC_LEFTBITSHIFT_NONE;
  hadc3.Init.OversamplingMode = DISABLE;
  hadc3.Init.Oversampling.Ratio = 1;
  if (HAL_ADC_Init(&hadc3) != HAL_OK)
  {
    Error_Handler();
  }
  hadc3.Init.Resolution = ADC_RESOLUTION_16B;
  if (HAL_ADC_Init(&hadc3) != HAL_OK)
  {
    Error_Handler();
  }

  /** Configure Regular Channel
  */
  sConfig.Channel = ADC_CHANNEL_TEMPSENSOR;
  sConfig.Rank = ADC_REGULAR_RANK_1;
  sConfig.SamplingTime = ADC_SAMPLETIME_1CYCLE_5;
  sConfig.SingleDiff = ADC_SINGLE_ENDED;
  sConfig.OffsetNumber = ADC_OFFSET_NONE;
  sConfig.Offset = 0;
  sConfig.OffsetSignedSaturation = DISABLE;
  if (HAL_ADC_ConfigChannel(&hadc3, &sConfig) != HAL_OK)
  {
    Error_Handler();
  }

}

static void MX_COMP1_Init(void)
{

  hcomp1.Instance = COMP1;
  hcomp1.Init.InvertingInput = COMP_INPUT_MINUS_DAC1_CH1;
  hcomp1.Init.NonInvertingInput = COMP_INPUT_PLUS_IO2;
  hcomp1.Init.OutputPol = COMP_OUTPUTPOL_NONINVERTED;
  hcomp1.Init.Hysteresis = COMP_HYSTERESIS_MEDIUM;
  hcomp1.Init.BlankingSrce = COMP_BLANKINGSRC_NONE;
  hcomp1.Init.Mode = COMP_POWERMODE_HIGHSPEED;
  hcomp1.Init.WindowMode = COMP_WINDOWMODE_DISABLE;
  hcomp1.Init.TriggerMode = COMP_TRIGGERMODE_EVENT_RISING;
  if (HAL_COMP_Init(&hcomp1) != HAL_OK)
  {
    Error_Handler();
  }

}

static void MX_DAC1_Init(void)
{

  DAC_ChannelConfTypeDef sConfig = {0};

  /** DAC Initialization
  */
  hdac1.Instance = DAC1;
  if (HAL_DAC_Init(&hdac1) != HAL_OK)
  {
    Error_Handler();
  }

  /** DAC channel OUT1 config
  */
  sConfig.DAC_SampleAndHold = DAC_SAMPLEANDHOLD_DISABLE;
  sConfig.DAC_Trigger = DAC_TRIGGER_NONE;
  sConfig.DAC_OutputBuffer = DAC_OUTPUTBUFFER_DISABLE;
  sConfig.DAC_ConnectOnChipPeripheral = DAC_CHIPCONNECT_ENABLE;
  sConfig.DAC_UserTrimming = DAC_TRIMMING_FACTORY;
  if (HAL_DAC_ConfigChannel(&hdac1, &sConfig, DAC_CHANNEL_1) != HAL_OK)
  {
    Error_Handler();
  }

}

static void MX_TIM2_Init(void)
{

  TIM_ClockConfigTypeDef sClockSourceConfig = {0};
  TIM_MasterConfigTypeDef sMasterConfig = {0};

  htim2.Instance = TIM2;
  htim2.Init.Prescaler = 0;
  htim2.Init.CounterMode = TIM_COUNTERMODE_UP;
  htim2.Init.Period = 4294967295;
  htim2.Init.ClockDivision = TIM_CLOCKDIVISION_DIV1;
  htim2.Init.AutoReloadPreload = TIM_AUTORELOAD_PRELOAD_DISABLE;
  if (HAL_TIM_Base_Init(&htim2) != HAL_OK)
  {
    Error_Handler();
  }
  sClockSourceConfig.ClockSource = TIM_CLOCKSOURCE_INTERNAL;
  if (HAL_TIM_ConfigClockSource(&htim2, &sClockSourceConfig) != HAL_OK)
  {
    Error_Handler();
  }
  sMasterConfig.MasterOutputTrigger = TIM_TRGO_UPDATE;
  sMasterConfig.MasterSlaveMode = TIM_MASTERSLAVEMODE_DISABLE;
  if (HAL_TIMEx_MasterConfigSynchronization(&htim2, &sMasterConfig) != HAL_OK)
  {
    Error_Handler();
  }

}

static void MX_TIM3_Init(void)
{

  TIM_SlaveConfigTypeDef sSlaveConfig = {0};
  TIM_MasterConfigTypeDef sMasterConfig = {0};

  htim3.Instance = TIM3;
  htim3.Init.Prescaler = 0;
  htim3.Init.CounterMode = TIM_COUNTERMODE_UP;
  htim3.Init.Period = 65535;
  htim3.Init.ClockDivision = TIM_CLOCKDIVISION_DIV1;
  htim3.Init.AutoReloadPreload = TIM_AUTORELOAD_PRELOAD_DISABLE;
  if (HAL_TIM_Base_Init(&htim3) != HAL_OK)
  {
    Error_Handler();
  }
  sSlaveConfig.SlaveMode = TIM_SLAVEMODE_EXTERNAL1;
  sSlaveConfig.InputTrigger = TIM_TS_ITR1;
  if (HAL_TIM_SlaveConfigSynchro(&htim3, &sSlaveConfig) != HAL_OK)
  {
    Error_Handler();
  }
  sMasterConfig.MasterOutputTrigger = TIM_TRGO_OC1REF;
  sMasterConfig.MasterSlaveMode = TIM_MASTERSLAVEMODE_DISABLE;
  if (HAL_TIMEx_MasterConfigSynchronization(&htim3, &sMasterConfig) != HAL_OK)
  {
    Error_Handler();
  }

}

static void MX_TIM4_Init(void)
{

  TIM_SlaveConfigTypeDef sSlaveConfig = {0};
  TIM_MasterConfigTypeDef sMasterConfig = {0};

  htim4.Instance = TIM4;
  htim4.Init.Prescaler = 0;
  htim4.Init.CounterMode = TIM_COUNTERMODE_UP;
  htim4.Init.Period = 65535;
  htim4.Init.ClockDivision = TIM_CLOCKDIVISION_DIV1;
  htim4.Init.AutoReloadPreload = TIM_AUTORELOAD_PRELOAD_DISABLE;
  if (HAL_TIM_Base_Init(&htim4) != HAL_OK)
  {
    Error_Handler();
  }
  sSlaveConfig.SlaveMode = TIM_SLAVEMODE_EXTERNAL1;
  sSlaveConfig.InputTrigger = TIM_TS_ITR1;
  if (HAL_TIM_SlaveConfigSynchro(&htim4, &sSlaveConfig) != HAL_OK)
  {
    Error_Handler();
  }
  sMasterConfig.MasterOutputTrigger = TIM_TRGO_RESET;
  sMasterConfig.MasterSlaveMode = TIM_MASTERSLAVEMODE_DISABLE;
  if (HAL_TIMEx_MasterConfigSynchronization(&htim4, &sMasterConfig) != HAL_OK)
  {
    Error_Handler();
  }

}

static void MX_USART3_UART_Init(void)
{

  huart3.Instance = USART3;
  huart3.Init.BaudRate = 921600;
  huart3.Init.WordLength = UART_WORDLENGTH_8B;
  huart3.Init.StopBits = UART_STOPBITS_1;
  huart3.Init.Parity = UART_PARITY_NONE;
  huart3.Init.Mode = UART_MODE_TX_RX;
  huart3.Init.HwFlowCtl = UART_HWCONTROL_NONE;
  huart3.Init.OverSampling = UART_OVERSAMPLING_16;
  huart3.Init.OneBitSampling = UART_ONE_BIT_SAMPLE_DISABLE;
  huart3.Init.ClockPrescaler = UART_PRESCALER_DIV1;
  huart3.AdvancedInit.AdvFeatureInit = UART_ADVFEATURE_NO_INIT;
  if (HAL_UART_Init(&huart3) != HAL_OK)
  {
    Error_Handler();
  }
  if (HAL_UARTEx_SetTxFifoThreshold(&huart3, UART_TXFIFO_THRESHOLD_1_8) != HAL_OK)
  {
    Error_Handler();
  }
  if (HAL_UARTEx_SetRxFifoThreshold(&huart3, UART_RXFIFO_THRESHOLD_1_8) != HAL_OK)
  {
    Error_Handler();
  }
  if (HAL_UARTEx_DisableFifoMode(&huart3) != HAL_OK)
  {
    Error_Handler();
  }

}

static void MX_DMA_Init(void)
{

  /* DMA controller clock enable */
  __HAL_RCC_DMA2_CLK_ENABLE();
  __HAL_RCC_DMA1_CLK_ENABLE();

  /* DMA interrupt init */
  /* DMA1_Stream0_IRQn interrupt configuration */
  HAL_NVIC_SetPriority(DMA1_Stream0_IRQn, 0, 0);
  HAL_NVIC_EnableIRQ(DMA1_Stream0_IRQn);
  /* DMA1_Stream3_IRQn interrupt configuration */
  HAL_NVIC_SetPriority(DMA1_Stream3_IRQn, 0, 0);
  HAL_NVIC_EnableIRQ(DMA1_Stream3_IRQn);
  /* DMA2_Stream0_IRQn interrupt configuration */
  HAL_NVIC_SetPriority(DMA2_Stream0_IRQn, 0, 0);
  HAL_NVIC_EnableIRQ(DMA2_Stream0_IRQn);

}

static void MX_GPIO_Init(void)
{
  GPIO_InitTypeDef GPIO_InitStruct = {0};

  /* GPIO Ports Clock Enable */
  __HAL_RCC_GPIOC_CLK_ENABLE();
  __HAL_RCC_GPIOH_CLK_ENABLE();
  __HAL_RCC_GPIOA_CLK_ENABLE();
  __HAL_RCC_GPIOB_CLK_ENABLE();
  __HAL_RCC_GPIOD_CLK_ENABLE();
  __HAL_RCC_GPIOG_CLK_ENABLE();
  __HAL_RCC_GPIOE_CLK_ENABLE();

  /*Configure GPIO pin Output Level */
  HAL_GPIO_WritePin(GPIOB, LD1_Pin|LD3_Pin, GPIO_PIN_RESET);

  /*Configure GPIO pin Output Level */
  HAL_GPIO_WritePin(USB_OTG_FS_PWR_EN_GPIO_Port, USB_OTG_FS_PWR_EN_Pin, GPIO_PIN_RESET);

  /*Configure GPIO pin Output Level */
  HAL_GPIO_WritePin(LD2_GPIO_Port, LD2_Pin, GPIO_PIN_RESET);

  /*Configure GPIO pins : PC13 PC3 */
  GPIO_InitStruct.Pin = GPIO_PIN_13|GPIO_PIN_3;
  GPIO_InitStruct.Mode = GPIO_MODE_IT_RISING;
  GPIO_InitStruct.Pull = GPIO_NOPULL;
  HAL_GPIO_Init(GPIOC, &GPIO_InitStruct);

  /*Configure GPIO pins : LD1_Pin LD3_Pin */
  GPIO_InitStruct.Pin = LD1_Pin|LD3_Pin;
  GPIO_InitStruct.Mode = GPIO_MODE_OUTPUT_PP;
  GPIO_InitStruct.Pull = GPIO_NOPULL;
  GPIO_InitStruct.Speed = GPIO_SPEED_FREQ_LOW;
  HAL_GPIO_Init(GPIOB, &GPIO_InitStruct);

  /*Configure GPIO pin : USB_OTG_FS_PWR_EN_Pin */
  GPIO_InitStruct.Pin = USB_OTG_FS_PWR_EN_Pin;
  GPIO_InitStruct.Mode = GPIO_MODE_OUTPUT_PP;
  GPIO_InitStruct.Pull = GPIO_NOPULL;
  GPIO_InitStruct.Speed = GPIO_SPEED_FREQ_LOW;
  HAL_GPIO_Init(USB_OTG_FS_PWR_EN_GPIO_Port, &GPIO_InitStruct);

  /*Configure GPIO pin : USB_OTG_FS_OVCR_Pin */
  GPIO_InitStruct.Pin = USB_OTG_FS_OVCR_Pin;
  GPIO_InitStruct.Mode = GPIO_MODE_IT_RISING;
  GPIO_InitStruct.Pull = GPIO_NOPULL;
  HAL_GPIO_Init(USB_OTG_FS_OVCR_GPIO_Port, &GPIO_InitStruct);

  /*Configure GPIO pin : LD2_Pin */
  GPIO_InitStruct.Pin = LD2_Pin;
  GPIO_InitStruct.Mode = GPIO_MODE_OUTPUT_PP;
  GPIO_InitStruct.Pull = GPIO_NOPULL;
  GPIO_InitStruct.Speed = GPIO_SPEED_FREQ_LOW;
  HAL_GPIO_Init(LD2_GPIO_Port, &GPIO_InitStruct);

  /* EXTI interrupt init*/
  HAL_NVIC_SetPriority(EXTI3_IRQn, 0, 0);
  HAL_NVIC_EnableIRQ(EXTI3_IRQn);

  HAL_NVIC_SetPriority(EXTI15_10_IRQn, 0, 0);
  HAL_NVIC_EnableIRQ(EXTI15_10_IRQn);

}

void Error_Handler(void)
{
	__disable_irq();
	while (1) {
	}
}
